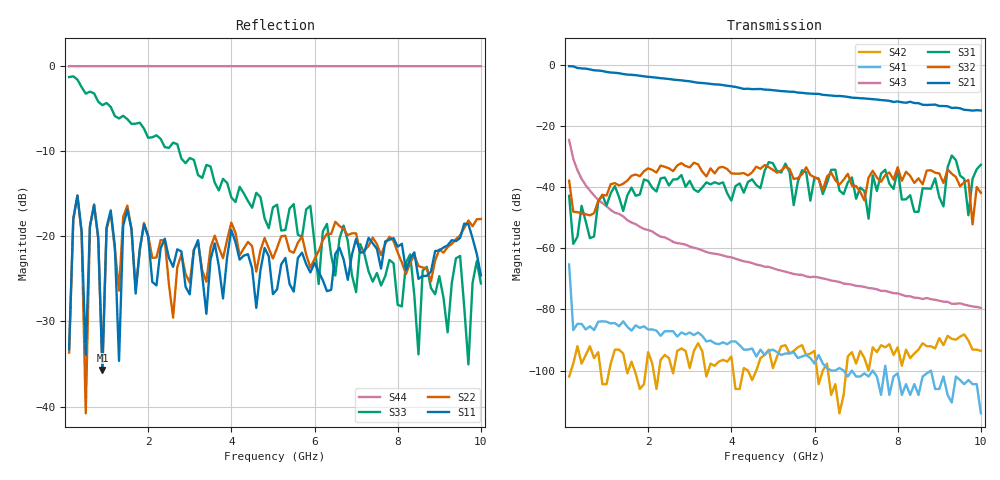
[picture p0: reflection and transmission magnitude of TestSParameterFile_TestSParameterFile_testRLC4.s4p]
# MHz MA S R 50.0
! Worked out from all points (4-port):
!   100 points, 100 MHz to 10 GHz, reference 50 ohm
!   strongest paths, dB at 100 MHz, 2.6 GHz, 5.1 GHz, 7.6 GHz, 10 GHz:
!     S21: -0.4, -4.8, -8.4, -11.5, -14.9
!     S32: -37.9, -34.8, -35.3, -38.2, -41.9
!     S31: -42.8, -37.5, -34.8, -35.6, -32.7
!     S43: -24.6, -57.9, -67.0, -73.9, -79.5
!     S41: -65.3, -87.1, -94.0, -108.0, -114.0
!     S42: -101.9, -100.9, -95.4, -91.7, -93.6
!   lowest |S11| = -35.7 dB at 900 MHz (marker M1), VSWR 1.03, Z = 49.2 - j1.4 ohm
!   |S11| at or under -10 dB: start of sweep to end of sweep
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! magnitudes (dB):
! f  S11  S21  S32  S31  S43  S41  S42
! 100 MHz  -33.3  -0.4  -37.9  -42.8  -24.6  -65.3  -101.9
! 300 MHz  -15.2  -1.0  -48.2  -56.2  -34.5  -84.7  -92.0
! 500 MHz  -33.9  -1.2  -48.9  -51.2  -39.4  -86.6  -94.9
! 600 MHz  -18.8  -1.5  -49.2  -56.7  -41.1  -85.5  -92.0
! 900 MHz  -35.7  -2.0  -42.5  -42.6  -45.2  -83.9  -104.4
! 1.1 GHz  -16.9  -2.5  -39.0  -42.0  -47.5  -84.6  -97.7
! 10 GHz  -24.6  -14.9  -41.9  -32.7  -79.5  -114.0  -93.6
